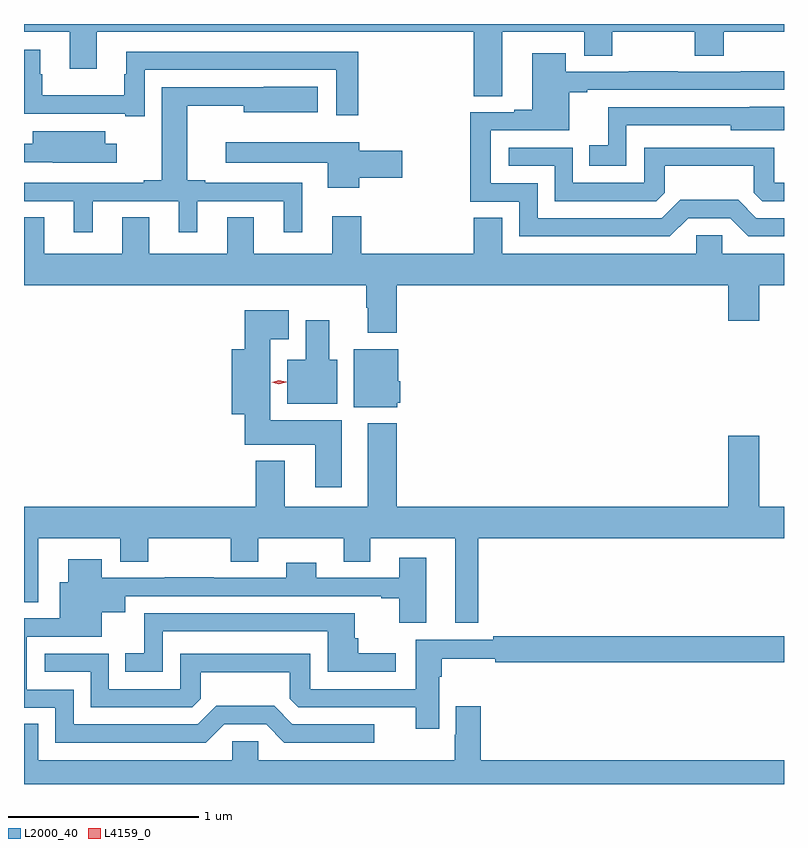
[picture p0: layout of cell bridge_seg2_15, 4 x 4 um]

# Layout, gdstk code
import gdstk
lib = gdstk.Library(unit=1e-6, precision=1e-09)
def P(c, l, *ps):  # polygons
    for p in ps: c.add(gdstk.Polygon(p, *l))
L2000_40 = (2000, 40)
L4159_0 = (4159, 0)

bridge_seg2_15 = lib.new_cell('bridge_seg2_15')
P(bridge_seg2_15, L2000_40, [(760.701,626.324),(760.943,626.324),(760.943,626.13),(761.083,626.13),(761.083,626.324),(763.067,626.324),(763.067,625.987),(763.219,625.987),(763.219,626.324),(763.649,626.324),(763.649,626.2),(763.797,626.2),(763.797,626.324),(764.23,626.324),(764.23,626.2),(764.385,626.2),(764.385,626.324),(764.701,626.324),(764.701,626.366),(760.701,626.366)],
  [(761.337,626.124),(762.345,626.124),(762.345,625.887),(762.461,625.887),(762.461,626.22),(761.24,626.22),(761.24,626.102),(761.229,626.102),(761.229,625.99),(760.798,625.99),(760.798,626.102),(760.786,626.102),(760.786,626.23),(760.701,626.23),(760.701,625.893),(761.234,625.893),(761.234,625.881),(761.337,625.881)],
  [(764.196,625.344),(764.418,625.344),(764.514,625.248),(764.701,625.248),(764.701,625.344),(764.556,625.344),(764.459,625.442),(764.156,625.442),(764.058,625.344),(763.404,625.344),(763.404,625.527),(763.158,625.527),(763.158,625.806),(763.57,625.806),(763.57,626.007),(763.666,626.007),(763.666,626.019),(764.701,626.019),(764.701,626.117),(764.473,626.117),(764.473,626.115),(764.141,626.115),(764.141,626.117),(763.885,626.117),(763.885,626.115),(763.552,626.115),(763.552,626.212),(763.376,626.212),(763.376,625.915),(763.28,625.915),(763.28,625.902),(763.05,625.902),(763.05,625.431),(763.308,625.431),(763.308,625.248),(764.1,625.248)],
  [(761.062,625.434),(761.516,625.434),(761.516,625.269),(761.614,625.269),(761.614,625.434),(762.068,625.434),(762.068,625.269),(762.166,625.269),(762.166,625.53),(761.656,625.53),(761.656,625.543),(761.56,625.543),(761.56,625.937),(761.858,625.937),(761.858,625.901),(762.247,625.901),(762.247,626.035),(761.962,626.035),(761.962,626.034),(761.426,626.034),(761.426,625.543),(761.33,625.543),(761.33,625.53),(760.701,625.53),(760.701,625.434),(760.964,625.434),(760.964,625.269),(761.062,625.269)],
  [(763.872,625.833),(764.421,625.833),(764.421,625.808),(764.701,625.808),(764.701,625.93),(764.521,625.93),(764.521,625.929),(763.775,625.929),(763.775,625.729),(763.675,625.729),(763.675,625.62),(763.872,625.62)],
  [(761.188,625.735),(761.128,625.735),(761.128,625.801),(760.748,625.801),(760.748,625.735),(760.701,625.735),(760.701,625.638),(760.852,625.638),(760.852,625.637),(761.188,625.637)],
  [(762.466,625.558),(762.691,625.558),(762.691,625.7),(762.466,625.7),(762.466,625.744),(761.763,625.744),(761.763,625.637),(762.299,625.637),(762.299,625.503),(762.466,625.503)],
  [(764.073,625.479),(764.073,625.619),(764.541,625.619),(764.541,625.479),(764.586,625.434),(764.701,625.434),(764.701,625.53),(764.649,625.53),(764.649,625.716),(763.965,625.716),(763.965,625.53),(763.59,625.53),(763.59,625.716),(763.251,625.716),(763.251,625.62),(763.494,625.62),(763.494,625.434),(764.028,625.434)],
  [(762.662,624.992),(764.408,624.992),(764.408,624.804),(764.572,624.804),(764.572,624.992),(764.701,624.992),(764.701,625.156),(764.376,625.156),(764.376,625.254),(764.238,625.254),(764.238,625.156),(763.219,625.156),(763.219,625.346),(763.067,625.346),(763.067,625.156),(762.476,625.156),(762.476,625.354),(762.323,625.354),(762.323,625.156),(761.911,625.156),(761.911,625.349),(761.771,625.349),(761.771,625.156),(761.359,625.156),(761.359,625.349),(761.219,625.349),(761.219,625.156),(760.807,625.156),(760.807,625.349),(760.701,625.349),(760.701,624.992),(762.502,624.992),(762.502,624.872),(762.509,624.872),(762.509,624.74),(762.662,624.74)],
  [(762.373,624.28),(761.998,624.28),(761.998,624.707),(762.094,624.707),(762.094,624.859),(761.864,624.859),(761.864,624.655),(761.795,624.655),(761.795,624.311),(761.864,624.311),(761.864,624.152),(762.233,624.152),(762.233,623.928),(762.373,623.928)],
  [(762.349,624.598),(762.307,624.598),(762.307,624.808),(762.185,624.808),(762.185,624.598),(762.086,624.598),(762.086,624.368),(762.349,624.368)],
  [(762.666,624.372),(762.682,624.372),(762.682,624.486),(762.67,624.486),(762.67,624.655),(762.437,624.655),(762.437,624.35),(762.666,624.35)],
  [(763.093,623.66),(764.701,623.66),(764.701,623.824),(764.572,623.824),(764.572,624.199),(764.408,624.199),(764.408,623.824),(762.662,623.824),(762.662,624.265),(762.509,624.265),(762.509,623.824),(762.073,623.824),(762.073,624.067),(761.921,624.067),(761.921,623.824),(760.701,623.824),(760.701,623.323),(760.777,623.323),(760.777,623.66),(761.207,623.66),(761.207,623.536),(761.355,623.536),(761.355,623.66),(761.788,623.66),(761.788,623.536),(761.935,623.536),(761.935,623.66),(762.383,623.66),(762.383,623.536),(762.523,623.536),(762.523,623.66),(762.971,623.66),(762.971,623.214),(763.093,623.214)],
  [(761.754,622.68),(761.976,622.68),(762.072,622.584),(762.544,622.584),(762.544,622.68),(762.114,622.68),(762.017,622.778),(761.714,622.778),(761.616,622.68),(760.962,622.68),(760.962,622.863),(760.716,622.863),(760.716,623.142),(761.11,623.142),(761.11,623.27),(761.233,623.27),(761.233,623.355),(762.581,623.355),(762.581,623.343),(762.677,623.343),(762.677,623.214),(762.817,623.214),(762.817,623.557),(762.677,623.557),(762.677,623.451),(762.238,623.451),(762.238,623.53),(762.08,623.53),(762.08,623.451),(761.699,623.451),(761.699,623.453),(761.443,623.453),(761.443,623.451),(761.11,623.451),(761.11,623.548),(760.934,623.548),(760.934,623.428),(760.889,623.428),(760.889,623.238),(760.701,623.238),(760.701,622.767),(760.866,622.767),(760.866,622.584),(761.658,622.584)],
  [(761.43,623.169),(762.299,623.169),(762.299,622.956),(762.658,622.956),(762.658,623.053),(762.46,623.053),(762.46,623.133),(762.442,623.133),(762.442,623.265),(761.333,623.265),(761.333,623.054),(761.233,623.054),(761.233,622.956),(761.43,622.956)],
  [(762.886,622.931),(762.899,622.931),(762.899,623.026),(763.182,623.026),(763.182,623.008),(764.701,623.008),(764.701,623.144),(763.171,623.144),(763.171,623.124),(762.764,623.124),(762.764,622.866),(762.207,622.866),(762.207,623.052),(761.523,623.052),(761.523,622.866),(761.148,622.866),(761.148,623.052),(760.809,623.052),(760.809,622.956),(761.052,622.956),(761.052,622.77),(761.586,622.77),(761.631,622.815),(761.631,622.955),(762.099,622.955),(762.099,622.815),(762.144,622.77),(762.764,622.77),(762.764,622.656),(762.886,622.656)],
  [(764.701,622.492),(763.106,622.492),(763.106,622.774),(762.974,622.774),(762.974,622.625),(762.967,622.625),(762.967,622.492),(761.934,622.492),(761.934,622.59),(761.796,622.59),(761.796,622.492),(760.777,622.492),(760.777,622.682),(760.701,622.682),(760.701,622.366),(764.701,622.366)])
P(bridge_seg2_15, L4159_0, [(762.043,624.471),(762.005,624.481),(762.005,624.481),(762.005,624.481),(762.043,624.491),(762.081,624.482),(762.081,624.482),(762.081,624.481)])

lib.write_gds('bridge_seg2_15.gds')
